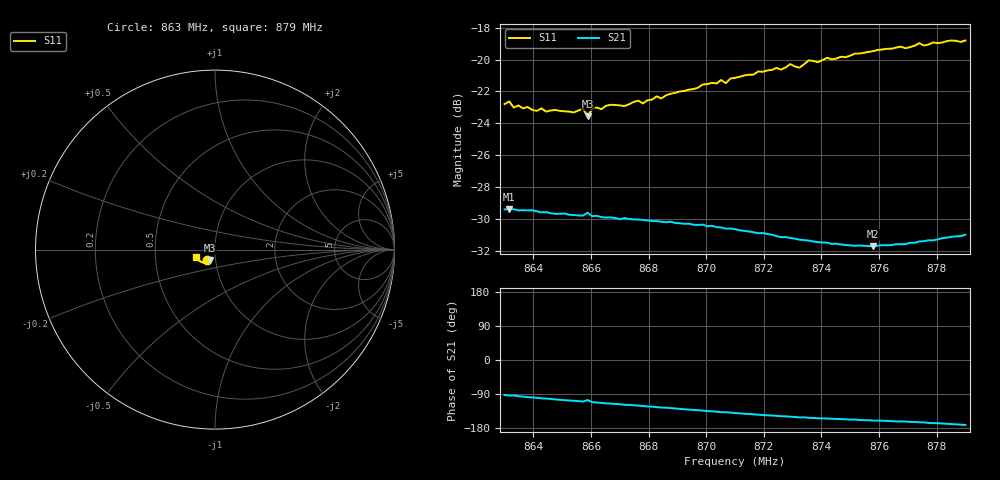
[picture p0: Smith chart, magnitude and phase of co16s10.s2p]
# HZ S RI R 50
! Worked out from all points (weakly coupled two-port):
!   101 points, 863 MHz to 879 MHz, reference 50 ohm
!   highest |S21| = -29.36 dB at 863.16 MHz (marker M1); lowest = -31.7 dB at 875.8 MHz (marker M2)
!   lowest |S11| = -23.6 dB at 865.88 MHz (marker M3), VSWR 1.14, Z = 46.8 - j5.56 ohm
!   |S11| at or under -10 dB: start of sweep to end of sweep
!   S12 and S22 are empty: the file has one direction only
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8.63e8  -0.0457 -0.0563  -0.00136 -0.0339  0 0  0 0
8.6316e8  -0.0471 -0.0569  -0.0023 -0.034  0 0  0 0
8.6332e8  -0.043 -0.0562  -0.00217 -0.0339  0 0  0 0
8.6412e8  -0.0408 -0.0557  -0.00569 -0.033  0 0  0 0
8.654e8  -0.0376 -0.057  -0.00989 -0.0311  0 0  0 0
8.6572e8  -0.0382 -0.0588  -0.0109 -0.0306  0 0  0 0
8.6588e8  -0.03 -0.0592  -0.00892 -0.0319  0 0  0 0
8.6604e8  -0.0377 -0.059  -0.0117 -0.0301  0 0  0 0
8.662e8  -0.0382 -0.0595  -0.0121 -0.03  0 0  0 0
8.6716e8  -0.0394 -0.0596  -0.015 -0.0281  0 0  0 0
8.6764e8  -0.039 -0.0633  -0.016 -0.0272  0 0  0 0
8.678e8  -0.0372 -0.0627  -0.0163 -0.0269  0 0  0 0
8.6828e8  -0.0388 -0.0661  -0.0175 -0.0258  0 0  0 0
8.6844e8  -0.0381 -0.0652  -0.018 -0.0253  0 0  0 0
8.71e8  -0.0508 -0.0714  -0.0225 -0.019  0 0  0 0
8.726e8  -0.0587 -0.0721  -0.0236 -0.0146  0 0  0 0
8.7292e8  -0.0654 -0.0713  -0.0238 -0.014  0 0  0 0
8.7324e8  -0.0624 -0.0707  -0.024 -0.013  0 0  0 0
8.7372e8  -0.0683 -0.0716  -0.024 -0.0122  0 0  0 0
8.758e8  -0.0857 -0.0628  -0.0245 -0.00891  0 0  0 0
8.7644e8  -0.0903 -0.0595  -0.0249 -0.00837  0 0  0 0
8.79e8  -0.108 -0.0386  -0.028 -0.00415  0 0  0 0
